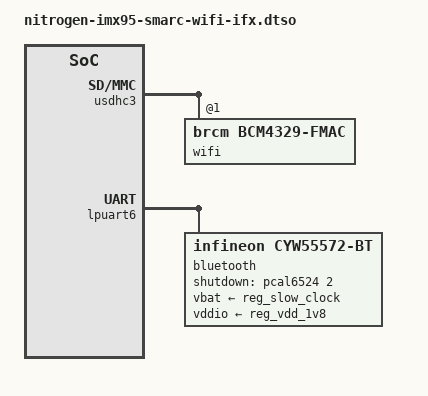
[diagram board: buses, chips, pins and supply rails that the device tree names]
// SPDX-License-Identifier: (GPL-2.0+ OR MIT)
/*
 * SDIO LWBxx & IFxxx module
 *
 * Copyright (C) 2024 Ezurio LLC
 */

/dts-v1/;
/plugin/;

#include <dt-bindings/gpio/gpio.h>

&reg_wifi_en {
	startup-delay-us = <250000>;
	off-on-delay-us = <100>;
};

&usdhc3 {
	status = "okay";

	#address-cells = <1>;
	#size-cells = <0>;

	wifi@1 {
		reg = <1>;
		compatible = "brcm,bcm4329-fmac";
	};
};

&lpuart6 {
	status = "okay";

	bluetooth {
		compatible = "infineon,cyw55572-bt";
		vbat-supply = <&reg_slow_clock>;
		vddio-supply = <&reg_vdd_1v8>;
		brcm,requires-autobaud-mode;
		max-speed = <3000000>;
		shutdown-gpios = <&pcal6524 2 GPIO_ACTIVE_HIGH>;
	};
};
